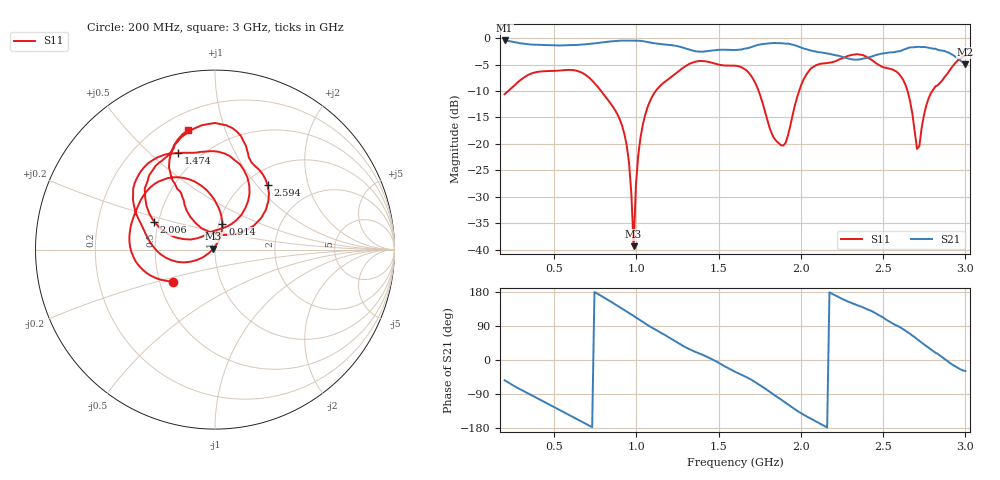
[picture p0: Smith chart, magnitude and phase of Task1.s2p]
# HZ S RI R 50
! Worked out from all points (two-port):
!   201 points, 200 MHz to 3 GHz, reference 50 ohm
!   highest |S21| = -0.44 dB at 200 MHz (marker M1); lowest = -5.0 dB at 3 GHz (marker M2)
!   |S21| within 3 dB of the highest: start of sweep to 2.241 GHz; 2.434 GHz to 2.935 GHz (500.9 MHz wide, 18.7 % of centre)
!   lowest |S11| = -39.4 dB at 984 MHz (marker M3), VSWR 1.02, Z = 49 + j0.442 ohm
!   |S11| at or under -10 dB: 786.3 MHz to 1.119 GHz (332.3 MHz wide, 34.9 % of centre); 1.744 GHz to 1.99 GHz (246 MHz wide, 13.2 % of centre); 2.648 GHz to 2.799 GHz (150.9 MHz wide, 5.54 % of centre)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
!   S12 and S22 are empty: the file has one direction only
!   S11 on the Smith chart (normalised r, x): 200 MHz: 0.59, -0.23; 914 MHz: 1.04, +0.30; 1.474 GHz: 0.38, +0.62; 2.006 GHz: 0.47, +0.17; 2.594 GHz: 1.25, +1.14; 3 GHz: 0.30, +0.76
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2e8  -0.2337 -0.1796  0.5668 -0.7629  0 0  0 0
4.24e8  -0.4752 0.0918  -0.2469 -0.8262  0 0  0 0
6.76e8  -0.2333 0.4028  -0.8372 -0.2376  0 0  0 0
9.14e8  0.0409 0.1425  -0.6759 0.6635  0 0  0 0
9.56e8  0.0256 0.0613  -0.5301 0.7843  0 0  0 0
9.84e8  -0.00978 0.0045  -0.4195 0.8494  0 0  0 0
9.98e8  -0.0353 -0.0208  -0.3593 0.8753  0 0  0 0
1.026e9  -0.0998 -0.0577  -0.2325 0.9125  0 0  0 0
1.138e9  -0.3438 0.0165  0.232 0.8521  0 0  0 0
1.32e9  -0.4558 0.3387  0.6815 0.3805  0 0  0 0
1.474e9  -0.2042 0.5391  0.7684 -0.014  0 0  0 0
1.6e9  -0.0073 0.5485  0.6615 -0.3968  0 0  0 0
1.726e9  0.1925 0.3142  0.4372 -0.7286  0 0  0 0
1.88e9  -0.0328 0.0912  -0.224 -0.8665  0 0  0 0
2.006e9  -0.3389 0.1548  -0.6374 -0.5006  0 0  0 0
2.076e9  -0.3764 0.3788  -0.6999 -0.2764  0 0  0 0
2.342e9  -0.00069 0.7056  -0.5112 0.3624  0 0  0 0
2.538e9  0.2269 0.462  -0.1458 0.7168  0 0  0 0
2.594e9  0.2928 0.3585  0.0196 0.7492  0 0  0 0
2.706e9  0.0387 0.0808  0.4714 0.6782  0 0  0 0
2.79e9  -0.1693 0.2482  0.7091 0.3775  0 0  0 0
3e9  -0.148 0.6664  0.4932 -0.276  0 0  0 0
